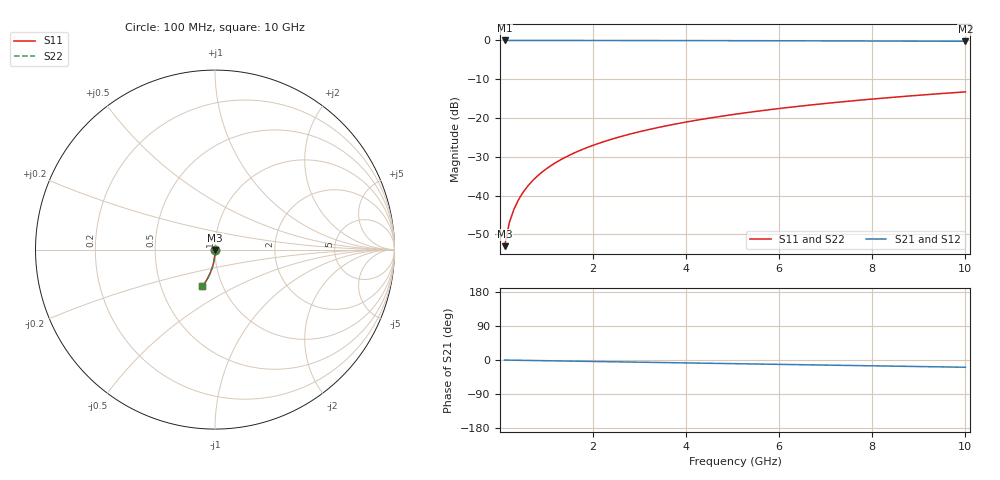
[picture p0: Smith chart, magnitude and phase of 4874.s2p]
# Hz S RI R 50.00
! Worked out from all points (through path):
!   100 points, 100 MHz to 10 GHz, reference 50 ohm
!   highest |S21| = 0.00 dB at 100 MHz (marker M1); lowest = -0.2 dB at 10 GHz (marker M2)
!   group delay of S21, straight-line fit = 5.32 ps
!   lowest |S11| = -53.0 dB at 100 MHz (marker M3), VSWR 1.00, Z = 50 - j0.223 ohm
!   |S11| at or under -10 dB: start of sweep to end of sweep
!   |S22| runs from -53.0 to -13.3 dB; largest |S21 - S12| = 0
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1e8  0.000201 -0.00222  0.9998 -0.00335  0.9998 -0.00335  0.000201 -0.00222
2e8  0.000178 -0.00445  0.9997 -0.0067  0.9997 -0.0067  0.000178 -0.00445
3e8  0.000139 -0.00667  0.9997 -0.0101  0.9997 -0.0101  0.000139 -0.00667
4e8  8.46e-05 -0.0089  0.9996 -0.0134  0.9996 -0.0134  8.46e-05 -0.0089
5e8  1.56e-05 -0.0111  0.9996 -0.0168  0.9996 -0.0168  1.56e-05 -0.0111
6e8  -6.85e-05 -0.0133  0.9995 -0.0201  0.9995 -0.0201  -6.85e-05 -0.0133
7e8  -0.000167 -0.0156  0.9994 -0.0235  0.9994 -0.0235  -0.000167 -0.0156
8e8  -0.000281 -0.0178  0.9992 -0.0268  0.9992 -0.0268  -0.000281 -0.0178
9e8  -0.00041 -0.02  0.9991 -0.0302  0.9991 -0.0302  -0.00041 -0.02
1.1e9  -0.000713 -0.0245  0.9988 -0.0368  0.9988 -0.0368  -0.000713 -0.0245
1.4e9  -0.00128 -0.0311  0.9982 -0.0469  0.9982 -0.0469  -0.00128 -0.0311
1.8e9  -0.00224 -0.04  0.9971 -0.0603  0.9971 -0.0603  -0.00224 -0.04
2.1e9  -0.00312 -0.0466  0.9962 -0.0703  0.9962 -0.0703  -0.00312 -0.0466
2.5e9  -0.0045 -0.0554  0.9947 -0.0836  0.9947 -0.0836  -0.0045 -0.0554
2.9e9  -0.00611 -0.0642  0.9929 -0.0969  0.9929 -0.0969  -0.00611 -0.0642
3.4e9  -0.00846 -0.0751  0.9903 -0.1135  0.9903 -0.1135  -0.00846 -0.0751
4.2e9  -0.013 -0.0923  0.9854 -0.1398  0.9854 -0.1398  -0.013 -0.0923
5.1e9  -0.0191 -0.1114  0.9787 -0.1691  0.9787 -0.1691  -0.0191 -0.1114
5.9e9  -0.0256 -0.128  0.9717 -0.1948  0.9717 -0.1948  -0.0256 -0.128
6.7e9  -0.0329 -0.1441  0.9638 -0.2201  0.9638 -0.2201  -0.0329 -0.1441
8.4e9  -0.051 -0.1769  0.9439 -0.2724  0.9439 -0.2724  -0.051 -0.1769
1e10  -0.0712 -0.2054  0.9217 -0.3195  0.9217 -0.3195  -0.0712 -0.2054
